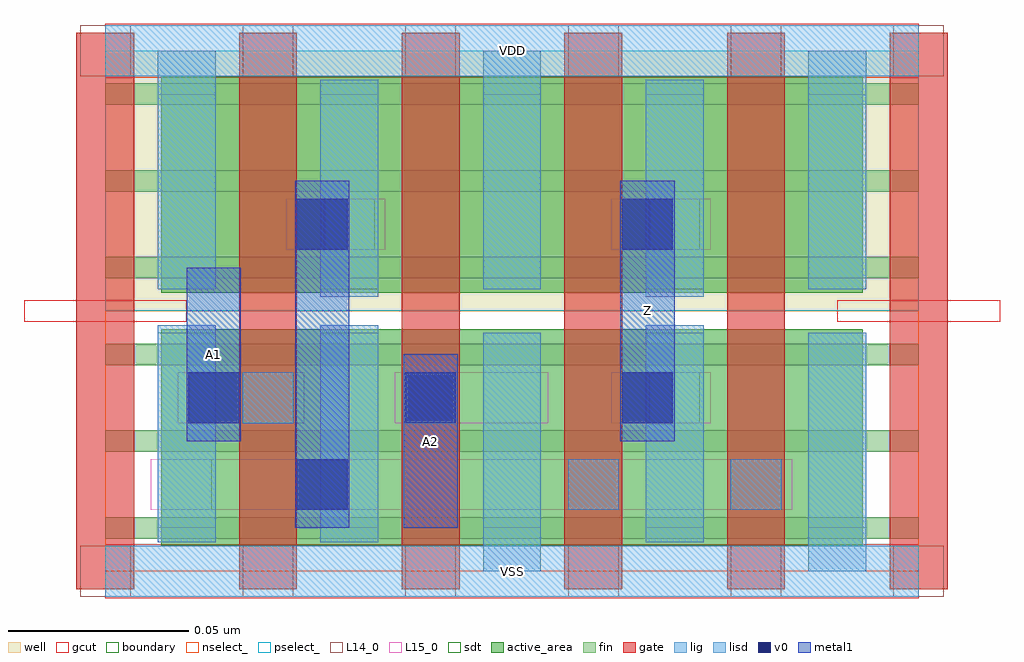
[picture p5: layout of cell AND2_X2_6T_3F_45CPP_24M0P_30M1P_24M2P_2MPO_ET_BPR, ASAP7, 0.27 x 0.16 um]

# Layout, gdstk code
import gdstk
lib = gdstk.Library(unit=1e-6, precision=2.5e-10)
def R(c, l, rs):  # rectangles x0, y0, x1, y1
    for r in rs: c.add(gdstk.rectangle(r[:2], r[2:], *l))
def A(c, l, x, y, w, h, nx, ny, dx, dy):  # array of equal rectangles
    R(c, l, [(x+i*dx, y+j*dy, x+i*dx+w, y+j*dy+h) for i in range(nx) for j in range(ny)])
well = (1, 0)
fin = (2, 0)
gate = (7, 0)
gcut = (10, 0)
active_area = (11, 0)
nselect_ = (12, 0)
pselect_ = (13, 0)
L14_0 = (14, 0)
L15_0 = (15, 0)
lig = (16, 0)
lisd = (17, 0)
v0 = (18, 0)
metal1 = (19, 0)
sdt = (88, 0)
boundary = (100, 0)

and2_x2_6t_3f_45cpp_24m0 = lib.new_cell('AND2_X2_6T_3F_45CPP_24M0P_30M1P_24M2P_2MPO_ET_BPR')
R(and2_x2_6t_3f_45cpp_24m0, well, [(0,0.072,0.225,0.144)])
A(and2_x2_6t_3f_45cpp_24m0, fin, 0, 0.009, 0.225, 0.006, 1, 6, 0, 0.024)
A(and2_x2_6t_3f_45cpp_24m0, gate, -0.008, -0.005, 0.016, 0.154, 6, 1, 0.045, 0)
R(and2_x2_6t_3f_45cpp_24m0, gcut, [(0,-0.0075,0.225,0.0075), (-0.0225,0.069,0.0225,0.075), (0.2025,0.069,0.2475,0.075), (0,0.1365,0.225,0.1515)])
R(and2_x2_6t_3f_45cpp_24m0, active_area, [(0.0155,0.007,0.0745,0.067), (0.0605,0.007,0.1195,0.067), (0.1055,0.007,0.2095,0.067), (0.0155,0.077,0.0745,0.137), (0.0605,0.077,0.1195,0.137), (0.1055,0.077,0.2095,0.137)])
R(and2_x2_6t_3f_45cpp_24m0, nselect_, [(0,0,0.225,0.072)])
R(and2_x2_6t_3f_45cpp_24m0, pselect_, [(0,0.072,0.225,0.144)])
A(and2_x2_6t_3f_45cpp_24m0, L14_0, -0.007, -0.007, 0.014, 0.014, 6, 2, 0.045, 0.144)
R(and2_x2_6t_3f_45cpp_24m0, L14_0, [(0.0155,0.017,0.0295,0.031), (0.128,0.017,0.142,0.031), (0.173,0.017,0.187,0.031), (0.038,0.041,0.052,0.055), (0.083,0.041,0.097,0.055), (0.1505,0.041,0.1645,0.055), (0.0605,0.089,0.0745,0.103), (0.1505,0.089,0.1645,0.103)])
R(and2_x2_6t_3f_45cpp_24m0, L15_0, [(0,-0.007,0.225,0.007), (0.0125,0.017,0.19,0.031), (0.02,0.041,0.055,0.055), (0.08,0.041,0.1225,0.055), (0.14,0.041,0.1675,0.055), (0.05,0.089,0.0775,0.103), (0.14,0.089,0.1675,0.103), (0,0.137,0.225,0.151)])
R(and2_x2_6t_3f_45cpp_24m0, lig, [(0,-0.007,0.225,0.007), (0.128,0.017,0.142,0.031), (0.173,0.017,0.187,0.031), (0.038,0.041,0.052,0.055), (0.083,0.041,0.097,0.055), (0,0.137,0.225,0.151)])
A(and2_x2_6t_3f_45cpp_24m0, lisd, 0.0145, 0.078, 0.016, 0.066, 3, 1, 0.09, 0)
R(and2_x2_6t_3f_45cpp_24m0, lisd, [(0.1045,0,0.1205,0.066), (0.1945,0,0.2105,0.066), (0.0145,0.008,0.0305,0.068), (0.0595,0.008,0.0755,0.068), (0.1495,0.008,0.1655,0.068), (0.0595,0.076,0.0755,0.136), (0.1495,0.076,0.1655,0.136)])
A(and2_x2_6t_3f_45cpp_24m0, v0, 0.023, 0.041, 0.014, 0.014, 3, 1, 0.06, 0)
R(and2_x2_6t_3f_45cpp_24m0, v0, [(0.053,0.017,0.067,0.031), (0.053,0.089,0.067,0.103), (0.143,0.089,0.157,0.103)])
R(and2_x2_6t_3f_45cpp_24m0, metal1, [(0.0525,0.012,0.0675,0.108), (0.0825,0.012,0.0975,0.06), (0.0225,0.036,0.0375,0.084), (0.1425,0.036,0.1575,0.108)])
A(and2_x2_6t_3f_45cpp_24m0, sdt, 0.0145, 0.012, 0.016, 0.054, 5, 2, 0.045, 0.066)
R(and2_x2_6t_3f_45cpp_24m0, boundary, [(0,0,0.225,0.144)])
and2_x2_6t_3f_45cpp_24m0.add(gdstk.Label('Z', (0.15,0.072), layer=19, texttype=251))
and2_x2_6t_3f_45cpp_24m0.add(gdstk.Label('A1', (0.03,0.06), layer=19, texttype=251))
and2_x2_6t_3f_45cpp_24m0.add(gdstk.Label('A2', (0.09,0.036), layer=19, texttype=251))
and2_x2_6t_3f_45cpp_24m0.add(gdstk.Label('VDD', (0.1125,0.144), layer=15, texttype=251))
and2_x2_6t_3f_45cpp_24m0.add(gdstk.Label('VSS', (0.1125,0), layer=15, texttype=251))
and2_x2_6t_3f_45cpp_24m0.add(gdstk.Label('VDD', (0.1125,0.144), layer=1, texttype=251))
and2_x2_6t_3f_45cpp_24m0.add(gdstk.Label('VSS', (0.1125,0), layer=3, texttype=251))

lib.write_gds('AND2_X2_6T_3F_45CPP_24M0P_30M1P_24M2P_2MPO_ET_BPR.gds')
